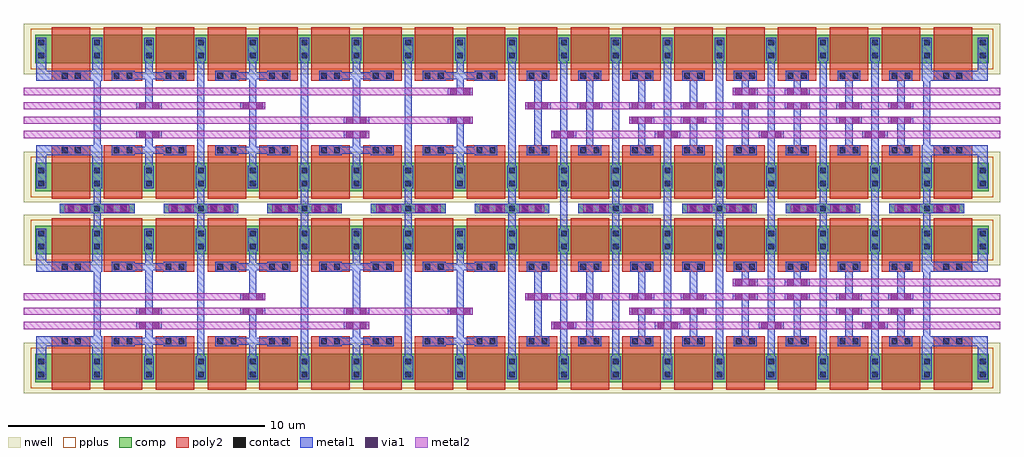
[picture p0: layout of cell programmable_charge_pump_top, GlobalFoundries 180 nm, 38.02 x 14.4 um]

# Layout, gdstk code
import gdstk
lib = gdstk.Library(unit=1e-6, precision=5e-09)
def R(c, l, rs):  # rectangles x0, y0, x1, y1
    for r in rs: c.add(gdstk.rectangle(r[:2], r[2:], *l))
def A(c, l, x, y, w, h, nx, ny, dx, dy):  # array of equal rectangles
    R(c, l, [(x+i*dx, y+j*dy, x+i*dx+w, y+j*dy+h) for i in range(nx) for j in range(ny)])
nwell = (21, 0)
comp = (22, 0)
poly2 = (30, 0)
pplus = (31, 0)
contact = (33, 0)
metal1 = (34, 0)
via1 = (35, 0)
metal2 = (36, 0)

pfet = lib.new_cell('pfet')

pfet_2 = lib.new_cell('pfet$2')
R(pfet_2, nwell, [(-0.9,-0.44,37.12,1.54)])
R(pfet_2, comp, [(-0.46,0,0,1.1), (0,0,36.22,1.1), (36.22,0,36.68,1.1)])
A(pfet_2, poly2, 0.19, -0.3, 1.5, 1.7, 18, 1, 2.02, 0)
A(pfet_2, poly2, 0.19, 1.4, 1.5, 0.38, 18, 1, 2.02, 0)
R(pfet_2, pplus, [(-0.63,-0.24,36.85,1.34)])
A(pfet_2, contact, 1.84, 0.185, 0.22, 0.22, 17, 2, 2.02, 0.51)
R(pfet_2, contact, [(-0.34,0.185,-0.12,0.405), (36.34,0.185,36.56,0.405), (-0.34,0.695,-0.12,0.915), (36.34,0.695,36.56,0.915), (0.575,1.48,0.795,1.7), (1.085,1.48,1.305,1.7), (2.595,1.48,2.815,1.7), (3.105,1.48,3.325,1.7), (4.615,1.48,4.835,1.7), (5.125,1.48,5.345,1.7), (6.635,1.48,6.855,1.7), (7.145,1.48,7.365,1.7), (8.655,1.48,8.875,1.7), (9.165,1.48,9.385,1.7), (10.675,1.48,10.895,1.7), (11.185,1.48,11.405,1.7), (12.695,1.48,12.915,1.7), (13.205,1.48,13.425,1.7), (14.715,1.48,14.935,1.7), (15.225,1.48,15.445,1.7), (16.735,1.48,16.955,1.7), (17.245,1.48,17.465,1.7), (18.755,1.48,18.975,1.7), (19.265,1.48,19.485,1.7), (20.775,1.48,20.995,1.7), (21.285,1.48,21.505,1.7), (22.795,1.48,23.015,1.7), (23.305,1.48,23.525,1.7), (24.815,1.48,25.035,1.7), (25.325,1.48,25.545,1.7), (26.835,1.48,27.055,1.7), (27.345,1.48,27.565,1.7), (28.855,1.48,29.075,1.7), (29.365,1.48,29.585,1.7), (30.875,1.48,31.095,1.7), (31.385,1.48,31.605,1.7), (32.895,1.48,33.115,1.7), (33.405,1.48,33.625,1.7), (34.915,1.48,35.135,1.7), (35.425,1.48,35.645,1.7)])
A(pfet_2, metal1, 1.76, 0.105, 0.38, 0.89, 17, 1, 2.02, 0)
A(pfet_2, metal1, 0.495, 1.4, 0.89, 0.38, 18, 1, 2.02, 0)
R(pfet_2, metal1, [(-0.42,0.105,-0.04,0.995), (36.26,0.105,36.64,0.995)])

pfet_3 = lib.new_cell('pfet$3')
R(pfet_3, nwell, [(-0.9,-0.44,37.12,1.54)])
R(pfet_3, comp, [(-0.46,0,0,1.1), (0,0,36.22,1.1), (36.22,0,36.68,1.1)])
A(pfet_3, poly2, 0.19, -0.68, 1.5, 0.38, 18, 1, 2.02, 0)
A(pfet_3, poly2, 0.19, -0.3, 1.5, 1.7, 18, 1, 2.02, 0)
R(pfet_3, pplus, [(-0.63,-0.24,36.85,1.34)])
A(pfet_3, contact, 1.84, 0.185, 0.22, 0.22, 17, 2, 2.02, 0.51)
R(pfet_3, contact, [(0.575,-0.6,0.795,-0.38), (1.085,-0.6,1.305,-0.38), (2.595,-0.6,2.815,-0.38), (3.105,-0.6,3.325,-0.38), (4.615,-0.6,4.835,-0.38), (5.125,-0.6,5.345,-0.38), (6.635,-0.6,6.855,-0.38), (7.145,-0.6,7.365,-0.38), (8.655,-0.6,8.875,-0.38), (9.165,-0.6,9.385,-0.38), (10.675,-0.6,10.895,-0.38), (11.185,-0.6,11.405,-0.38), (12.695,-0.6,12.915,-0.38), (13.205,-0.6,13.425,-0.38), (14.715,-0.6,14.935,-0.38), (15.225,-0.6,15.445,-0.38), (16.735,-0.6,16.955,-0.38), (17.245,-0.6,17.465,-0.38), (18.755,-0.6,18.975,-0.38), (19.265,-0.6,19.485,-0.38), (20.775,-0.6,20.995,-0.38), (21.285,-0.6,21.505,-0.38), (22.795,-0.6,23.015,-0.38), (23.305,-0.6,23.525,-0.38), (24.815,-0.6,25.035,-0.38), (25.325,-0.6,25.545,-0.38), (26.835,-0.6,27.055,-0.38), (27.345,-0.6,27.565,-0.38), (28.855,-0.6,29.075,-0.38), (29.365,-0.6,29.585,-0.38), (30.875,-0.6,31.095,-0.38), (31.385,-0.6,31.605,-0.38), (32.895,-0.6,33.115,-0.38), (33.405,-0.6,33.625,-0.38), (34.915,-0.6,35.135,-0.38), (35.425,-0.6,35.645,-0.38), (-0.34,0.185,-0.12,0.405), (36.34,0.185,36.56,0.405), (-0.34,0.695,-0.12,0.915), (36.34,0.695,36.56,0.915)])
A(pfet_3, metal1, 0.495, -0.68, 0.89, 0.38, 18, 1, 2.02, 0)
A(pfet_3, metal1, 1.76, 0.105, 0.38, 0.89, 17, 1, 2.02, 0)
R(pfet_3, metal1, [(-0.42,0.105,-0.04,0.995), (36.26,0.105,36.64,0.995)])

m1_m2 = lib.new_cell('M1_M2')
R(m1_m2, via1, [(0.1,0.01,0.36,0.27), (0.62,0.01,0.88,0.27)])
m1_m2.add(gdstk.FlexPath([(0,0.14),(0.98,0.14)], 0.28, ends="flush", simple_path=True, layer=34, datatype=0))  # metal1
m1_m2.add(gdstk.FlexPath([(0,0.14),(0.98,0.14)], 0.28, ends="flush", simple_path=True, layer=36, datatype=0))  # metal2

programmable_charge_pump = lib.new_cell('programmable_charge_pump_top')
A(programmable_charge_pump, contact, 2.37, 9.73, 0.22, 0.22, 5, 1, 0.51, 0)
A(programmable_charge_pump, contact, 6.41, 9.73, 0.22, 0.22, 5, 1, 0.51, 0)
A(programmable_charge_pump, contact, 10.45, 9.73, 0.22, 0.22, 5, 1, 0.51, 0)
A(programmable_charge_pump, contact, 14.49, 9.73, 0.22, 0.22, 5, 1, 0.51, 0)
A(programmable_charge_pump, contact, 18.53, 9.73, 0.22, 0.22, 5, 1, 0.51, 0)
A(programmable_charge_pump, contact, 22.57, 9.73, 0.22, 0.22, 5, 1, 0.51, 0)
A(programmable_charge_pump, contact, 26.61, 9.73, 0.22, 0.22, 5, 1, 0.51, 0)
A(programmable_charge_pump, contact, 30.65, 9.73, 0.22, 0.22, 5, 1, 0.51, 0)
A(programmable_charge_pump, contact, 34.69, 9.73, 0.22, 0.22, 5, 1, 0.51, 0)
A(programmable_charge_pump, metal1, 2.045, 9.65, 2.91, 0.38, 9, 1, 4.04, 0)
programmable_charge_pump.add(gdstk.FlexPath([(19.66,4.075),(19.66,8.165)], 0.28, ends="flush", simple_path=True, layer=34, datatype=0))  # metal1
programmable_charge_pump.add(gdstk.FlexPath([(19.66,11.515),(19.66,15.605)], 0.28, ends="flush", simple_path=True, layer=34, datatype=0))  # metal1
programmable_charge_pump.add(gdstk.FlexPath([(21.68,9.055),(21.68,10.625)], 0.28, ends="flush", simple_path=True, layer=34, datatype=0))  # metal1
programmable_charge_pump.add(gdstk.FlexPath([(25.72,9.055),(25.72,10.625)], 0.28, ends="flush", simple_path=True, layer=34, datatype=0))  # metal1
programmable_charge_pump.add(gdstk.FlexPath([(29.76,9.055),(29.76,10.625)], 0.28, ends="flush", simple_path=True, layer=34, datatype=0))  # metal1
programmable_charge_pump.add(gdstk.FlexPath([(33.8,9.055),(33.8,10.625)], 0.28, ends="flush", simple_path=True, layer=34, datatype=0))  # metal1
programmable_charge_pump.add(gdstk.FlexPath([(35.82,9.055),(35.82,10.625)], 0.28, ends="flush", simple_path=True, layer=34, datatype=0))  # metal1
programmable_charge_pump.add(gdstk.FlexPath([(31.78,9.055),(31.78,10.625)], 0.28, ends="flush", simple_path=True, layer=34, datatype=0))  # metal1
programmable_charge_pump.add(gdstk.FlexPath([(27.74,9.055),(27.74,10.625)], 0.28, ends="flush", simple_path=True, layer=34, datatype=0))  # metal1
programmable_charge_pump.add(gdstk.FlexPath([(23.7,9.055),(23.7,10.625)], 0.28, ends="flush", simple_path=True, layer=34, datatype=0))  # metal1
programmable_charge_pump.add(gdstk.FlexPath([(19.66,9.055),(19.66,10.625)], 0.28, ends="flush", simple_path=True, layer=34, datatype=0))  # metal1
programmable_charge_pump.add(gdstk.FlexPath([(15.62,9.055),(15.62,10.625)], 0.28, ends="flush", simple_path=True, layer=34, datatype=0))  # metal1
programmable_charge_pump.add(gdstk.FlexPath([(11.58,9.055),(11.58,10.625)], 0.28, ends="flush", simple_path=True, layer=34, datatype=0))  # metal1
programmable_charge_pump.add(gdstk.FlexPath([(7.54,9.055),(7.54,10.625)], 0.28, ends="flush", simple_path=True, layer=34, datatype=0))  # metal1
programmable_charge_pump.add(gdstk.FlexPath([(3.5,9.055),(3.5,10.625)], 0.28, ends="flush", simple_path=True, layer=34, datatype=0))  # metal1
programmable_charge_pump.add(gdstk.FlexPath([(32.79,14.82),(32.79,13.98)], 0.28, ends="flush", simple_path=True, layer=34, datatype=0))  # metal1
programmable_charge_pump.add(gdstk.FlexPath([(34.81,14.82),(34.81,13.98)], 0.28, ends="flush", simple_path=True, layer=34, datatype=0))  # metal1
programmable_charge_pump.add(gdstk.FlexPath([(25.72,11.515),(25.72,15.605)], 0.28, ends="flush", simple_path=True, layer=34, datatype=0))  # metal1
programmable_charge_pump.add(gdstk.FlexPath([(29.76,11.515),(29.76,15.605)], 0.28, ends="flush", simple_path=True, layer=34, datatype=0))  # metal1
programmable_charge_pump.add(gdstk.FlexPath([(33.8,11.515),(33.8,15.605)], 0.28, ends="flush", simple_path=True, layer=34, datatype=0))  # metal1
programmable_charge_pump.add(gdstk.FlexPath([(26.73,12.3),(26.73,13.14)], 0.28, ends="flush", simple_path=True, layer=34, datatype=0))  # metal1
programmable_charge_pump.add(gdstk.FlexPath([(24.71,12.3),(24.71,13.14)], 0.28, ends="flush", simple_path=True, layer=34, datatype=0))  # metal1
programmable_charge_pump.add(gdstk.FlexPath([(32.79,12.3),(32.79,13.14)], 0.28, ends="flush", simple_path=True, layer=34, datatype=0))  # metal1
programmable_charge_pump.add(gdstk.FlexPath([(34.81,12.3),(34.81,13.14)], 0.28, ends="flush", simple_path=True, layer=34, datatype=0))  # metal1
programmable_charge_pump.add(gdstk.FlexPath([(30.77,14.82),(30.77,14.54)], 0.28, ends="flush", simple_path=True, layer=34, datatype=0))  # metal1
programmable_charge_pump.add(gdstk.FlexPath([(28.75,14.82),(28.75,14.54)], 0.28, ends="flush", simple_path=True, layer=34, datatype=0))  # metal1
programmable_charge_pump.add(gdstk.FlexPath([(35.82,11.515),(35.82,12.11),(36.385,12.11)], 0.38, ends="flush", simple_path=True, layer=34, datatype=0))  # metal1
programmable_charge_pump.add(gdstk.FlexPath([(37.275,12.11),(38,12.11),(38,11.515)], 0.38, ends="flush", simple_path=True, layer=34, datatype=0))  # metal1
programmable_charge_pump.add(gdstk.FlexPath([(35.82,15.605),(35.82,15.01),(36.385,15.01)], 0.38, ends="flush", simple_path=True, layer=34, datatype=0))  # metal1
programmable_charge_pump.add(gdstk.FlexPath([(37.275,15.01),(38,15.01),(38,15.605)], 0.38, ends="flush", simple_path=True, layer=34, datatype=0))  # metal1
programmable_charge_pump.add(gdstk.FlexPath([(35.82,12.11),(35.82,15.01)], 0.28, ends="flush", simple_path=True, layer=34, datatype=0))  # metal1
programmable_charge_pump.add(gdstk.FlexPath([(31.78,11.515),(31.78,15.605)], 0.28, ends="flush", simple_path=True, layer=34, datatype=0))  # metal1
programmable_charge_pump.add(gdstk.FlexPath([(27.74,11.515),(27.74,15.605)], 0.28, ends="flush", simple_path=True, layer=34, datatype=0))  # metal1
programmable_charge_pump.add(gdstk.FlexPath([(23.7,11.515),(23.7,15.605)], 0.28, ends="flush", simple_path=True, layer=34, datatype=0))  # metal1
programmable_charge_pump.add(gdstk.FlexPath([(20.67,14.82),(20.67,12.3)], 0.28, ends="flush", simple_path=True, layer=34, datatype=0))  # metal1
programmable_charge_pump.add(gdstk.FlexPath([(22.69,12.3),(22.69,14.82)], 0.28, ends="flush", simple_path=True, layer=34, datatype=0))  # metal1
programmable_charge_pump.add(gdstk.FlexPath([(21.68,11.515),(21.68,15.605)], 0.28, ends="flush", simple_path=True, layer=34, datatype=0))  # metal1
programmable_charge_pump.add(gdstk.FlexPath([(24.71,14.82),(24.71,13.98)], 0.28, ends="flush", simple_path=True, layer=34, datatype=0))  # metal1
programmable_charge_pump.add(gdstk.FlexPath([(26.73,14.82),(26.73,13.98)], 0.28, ends="flush", simple_path=True, layer=34, datatype=0))  # metal1
programmable_charge_pump.add(gdstk.FlexPath([(28.75,12.3),(28.75,13.7)], 0.28, ends="flush", simple_path=True, layer=34, datatype=0))  # metal1
programmable_charge_pump.add(gdstk.FlexPath([(30.77,12.3),(30.77,13.7)], 0.28, ends="flush", simple_path=True, layer=34, datatype=0))  # metal1
programmable_charge_pump.add(gdstk.FlexPath([(13.6,15.605),(13.6,14.87)], 0.28, ends="flush", simple_path=True, layer=34, datatype=0))  # metal1
programmable_charge_pump.add(gdstk.FlexPath([(8.995,15.01),(10.125,15.01)], 0.28, ends="flush", simple_path=True, layer=34, datatype=0))  # metal1
programmable_charge_pump.add(gdstk.FlexPath([(8.995,12.11),(10.125,12.11)], 0.28, ends="flush", simple_path=True, layer=34, datatype=0))  # metal1
programmable_charge_pump.add(gdstk.FlexPath([(9.56,11.515),(9.56,12.25)], 0.28, ends="flush", simple_path=True, layer=34, datatype=0))  # metal1
programmable_charge_pump.add(gdstk.FlexPath([(9.56,15.605),(9.56,14.87)], 0.28, ends="flush", simple_path=True, layer=34, datatype=0))  # metal1
programmable_charge_pump.add(gdstk.FlexPath([(4.955,15.01),(6.085,15.01)], 0.28, ends="flush", simple_path=True, layer=34, datatype=0))  # metal1
programmable_charge_pump.add(gdstk.FlexPath([(4.955,12.11),(6.085,12.11)], 0.28, ends="flush", simple_path=True, layer=34, datatype=0))  # metal1
programmable_charge_pump.add(gdstk.FlexPath([(5.52,11.515),(5.52,12.25)], 0.28, ends="flush", simple_path=True, layer=34, datatype=0))  # metal1
programmable_charge_pump.add(gdstk.FlexPath([(5.52,15.605),(5.52,14.87)], 0.28, ends="flush", simple_path=True, layer=34, datatype=0))  # metal1
programmable_charge_pump.add(gdstk.FlexPath([(13.6,14.87),(13.6,13.42)], 0.28, ends="flush", simple_path=True, layer=34, datatype=0))  # metal1
programmable_charge_pump.add(gdstk.FlexPath([(5.52,12.25),(5.52,12.58)], 0.28, ends="flush", simple_path=True, layer=34, datatype=0))  # metal1
programmable_charge_pump.add(gdstk.FlexPath([(5.52,14.87),(5.52,13.98)], 0.28, ends="flush", simple_path=True, layer=34, datatype=0))  # metal1
programmable_charge_pump.add(gdstk.FlexPath([(9.56,14.87),(9.56,13.98)], 0.28, ends="flush", simple_path=True, layer=34, datatype=0))  # metal1
programmable_charge_pump.add(gdstk.FlexPath([(9.56,12.25),(9.56,13.7)], 0.28, ends="flush", simple_path=True, layer=34, datatype=0))  # metal1
programmable_charge_pump.add(gdstk.FlexPath([(17.64,15.605),(17.64,14.54)], 0.28, ends="flush", simple_path=True, layer=34, datatype=0))  # metal1
programmable_charge_pump.add(gdstk.FlexPath([(1.32,15.605),(1.32,15.01),(2.045,15.01)], 0.38, ends="flush", simple_path=True, layer=34, datatype=0))  # metal1
programmable_charge_pump.add(gdstk.FlexPath([(2.935,15.01),(3.5,15.01),(3.5,15.605)], 0.38, ends="flush", simple_path=True, layer=34, datatype=0))  # metal1
programmable_charge_pump.add(gdstk.FlexPath([(3.5,12.11),(3.5,15.01)], 0.28, ends="flush", simple_path=True, layer=34, datatype=0))  # metal1
programmable_charge_pump.add(gdstk.FlexPath([(11.58,11.515),(11.58,15.605)], 0.28, ends="flush", simple_path=True, layer=34, datatype=0))  # metal1
programmable_charge_pump.add(gdstk.FlexPath([(15.62,11.515),(15.62,15.605)], 0.28, ends="flush", simple_path=True, layer=34, datatype=0))  # metal1
programmable_charge_pump.add(gdstk.FlexPath([(7.54,11.515),(7.54,15.605)], 0.28, ends="flush", simple_path=True, layer=34, datatype=0))  # metal1
programmable_charge_pump.add(gdstk.FlexPath([(1.32,11.515),(1.32,12.11),(2.045,12.11)], 0.38, ends="flush", simple_path=True, layer=34, datatype=0))  # metal1
programmable_charge_pump.add(gdstk.FlexPath([(2.935,12.11),(3.5,12.11),(3.5,11.515)], 0.38, ends="flush", simple_path=True, layer=34, datatype=0))  # metal1
programmable_charge_pump.add(gdstk.FlexPath([(17.075,15.01),(18.205,15.01)], 0.28, ends="flush", simple_path=True, layer=34, datatype=0))  # metal1
programmable_charge_pump.add(gdstk.FlexPath([(17.075,12.11),(18.205,12.11)], 0.28, ends="flush", simple_path=True, layer=34, datatype=0))  # metal1
programmable_charge_pump.add(gdstk.FlexPath([(17.64,11.515),(17.64,13.14)], 0.28, ends="flush", simple_path=True, layer=34, datatype=0))  # metal1
programmable_charge_pump.add(gdstk.FlexPath([(13.6,12.25),(13.6,12.58)], 0.28, ends="flush", simple_path=True, layer=34, datatype=0))  # metal1
programmable_charge_pump.add(gdstk.FlexPath([(13.035,15.01),(14.165,15.01)], 0.28, ends="flush", simple_path=True, layer=34, datatype=0))  # metal1
programmable_charge_pump.add(gdstk.FlexPath([(13.035,12.11),(14.165,12.11)], 0.28, ends="flush", simple_path=True, layer=34, datatype=0))  # metal1
programmable_charge_pump.add(gdstk.FlexPath([(13.6,11.515),(13.6,12.25)], 0.28, ends="flush", simple_path=True, layer=34, datatype=0))  # metal1
programmable_charge_pump.add(gdstk.FlexPath([(13.035,4.67),(14.165,4.67)], 0.28, ends="flush", simple_path=True, layer=34, datatype=0))  # metal1
programmable_charge_pump.add(gdstk.FlexPath([(13.6,4.075),(13.6,4.81)], 0.28, ends="flush", simple_path=True, layer=34, datatype=0))  # metal1
programmable_charge_pump.add(gdstk.FlexPath([(13.6,8.165),(13.6,7.43)], 0.28, ends="flush", simple_path=True, layer=34, datatype=0))  # metal1
programmable_charge_pump.add(gdstk.FlexPath([(8.995,7.57),(10.125,7.57)], 0.28, ends="flush", simple_path=True, layer=34, datatype=0))  # metal1
programmable_charge_pump.add(gdstk.FlexPath([(8.995,4.67),(10.125,4.67)], 0.28, ends="flush", simple_path=True, layer=34, datatype=0))  # metal1
programmable_charge_pump.add(gdstk.FlexPath([(9.56,4.075),(9.56,4.81)], 0.28, ends="flush", simple_path=True, layer=34, datatype=0))  # metal1
programmable_charge_pump.add(gdstk.FlexPath([(9.56,8.165),(9.56,7.43)], 0.28, ends="flush", simple_path=True, layer=34, datatype=0))  # metal1
programmable_charge_pump.add(gdstk.FlexPath([(4.955,7.57),(6.085,7.57)], 0.28, ends="flush", simple_path=True, layer=34, datatype=0))  # metal1
programmable_charge_pump.add(gdstk.FlexPath([(4.955,4.67),(6.085,4.67)], 0.28, ends="flush", simple_path=True, layer=34, datatype=0))  # metal1
programmable_charge_pump.add(gdstk.FlexPath([(5.52,4.075),(5.52,4.81)], 0.28, ends="flush", simple_path=True, layer=34, datatype=0))  # metal1
programmable_charge_pump.add(gdstk.FlexPath([(5.52,8.165),(5.52,7.43)], 0.28, ends="flush", simple_path=True, layer=34, datatype=0))  # metal1
programmable_charge_pump.add(gdstk.FlexPath([(13.6,7.43),(13.6,5.98)], 0.28, ends="flush", simple_path=True, layer=34, datatype=0))  # metal1
programmable_charge_pump.add(gdstk.FlexPath([(5.52,4.81),(5.52,5.14)], 0.28, ends="flush", simple_path=True, layer=34, datatype=0))  # metal1
programmable_charge_pump.add(gdstk.FlexPath([(5.52,7.43),(5.52,5.98)], 0.28, ends="flush", simple_path=True, layer=34, datatype=0))  # metal1
programmable_charge_pump.add(gdstk.FlexPath([(9.56,7.43),(9.56,6.54)], 0.28, ends="flush", simple_path=True, layer=34, datatype=0))  # metal1
programmable_charge_pump.add(gdstk.FlexPath([(9.56,4.81),(9.56,5.7)], 0.28, ends="flush", simple_path=True, layer=34, datatype=0))  # metal1
programmable_charge_pump.add(gdstk.FlexPath([(1.32,4.075),(1.32,4.67),(2.045,4.67)], 0.38, ends="flush", simple_path=True, layer=34, datatype=0))  # metal1
programmable_charge_pump.add(gdstk.FlexPath([(2.935,4.67),(3.5,4.67),(3.5,4.075)], 0.38, ends="flush", simple_path=True, layer=34, datatype=0))  # metal1
programmable_charge_pump.add(gdstk.FlexPath([(1.32,8.165),(1.32,7.57),(2.045,7.57)], 0.38, ends="flush", simple_path=True, layer=34, datatype=0))  # metal1
programmable_charge_pump.add(gdstk.FlexPath([(2.935,7.57),(3.5,7.57),(3.5,8.165)], 0.38, ends="flush", simple_path=True, layer=34, datatype=0))  # metal1
programmable_charge_pump.add(gdstk.FlexPath([(3.5,4.67),(3.5,7.57)], 0.28, ends="flush", simple_path=True, layer=34, datatype=0))  # metal1
programmable_charge_pump.add(gdstk.FlexPath([(11.58,4.075),(11.58,8.165)], 0.28, ends="flush", simple_path=True, layer=34, datatype=0))  # metal1
programmable_charge_pump.add(gdstk.FlexPath([(15.62,4.075),(15.62,8.165)], 0.28, ends="flush", simple_path=True, layer=34, datatype=0))  # metal1
programmable_charge_pump.add(gdstk.FlexPath([(7.54,4.075),(7.54,8.165)], 0.28, ends="flush", simple_path=True, layer=34, datatype=0))  # metal1
programmable_charge_pump.add(gdstk.FlexPath([(17.075,7.57),(18.205,7.57)], 0.28, ends="flush", simple_path=True, layer=34, datatype=0))  # metal1
programmable_charge_pump.add(gdstk.FlexPath([(17.075,4.67),(18.205,4.67)], 0.28, ends="flush", simple_path=True, layer=34, datatype=0))  # metal1
programmable_charge_pump.add(gdstk.FlexPath([(17.64,4.075),(17.64,8.165)], 0.28, ends="flush", simple_path=True, layer=34, datatype=0))  # metal1
programmable_charge_pump.add(gdstk.FlexPath([(13.6,4.81),(13.6,5.14)], 0.28, ends="flush", simple_path=True, layer=34, datatype=0))  # metal1
programmable_charge_pump.add(gdstk.FlexPath([(13.035,7.57),(14.165,7.57)], 0.28, ends="flush", simple_path=True, layer=34, datatype=0))  # metal1
programmable_charge_pump.add(gdstk.FlexPath([(30.77,4.86),(30.77,6.26)], 0.28, ends="flush", simple_path=True, layer=34, datatype=0))  # metal1
programmable_charge_pump.add(gdstk.FlexPath([(32.79,7.38),(32.79,6.54)], 0.28, ends="flush", simple_path=True, layer=34, datatype=0))  # metal1
programmable_charge_pump.add(gdstk.FlexPath([(34.81,7.38),(34.81,6.54)], 0.28, ends="flush", simple_path=True, layer=34, datatype=0))  # metal1
programmable_charge_pump.add(gdstk.FlexPath([(25.72,4.075),(25.72,8.165)], 0.28, ends="flush", simple_path=True, layer=34, datatype=0))  # metal1
programmable_charge_pump.add(gdstk.FlexPath([(29.76,4.075),(29.76,8.165)], 0.28, ends="flush", simple_path=True, layer=34, datatype=0))  # metal1
programmable_charge_pump.add(gdstk.FlexPath([(33.8,4.075),(33.8,8.165)], 0.28, ends="flush", simple_path=True, layer=34, datatype=0))  # metal1
programmable_charge_pump.add(gdstk.FlexPath([(26.73,4.86),(26.73,5.7)], 0.28, ends="flush", simple_path=True, layer=34, datatype=0))  # metal1
programmable_charge_pump.add(gdstk.FlexPath([(24.71,4.86),(24.71,5.7)], 0.28, ends="flush", simple_path=True, layer=34, datatype=0))  # metal1
programmable_charge_pump.add(gdstk.FlexPath([(32.79,4.86),(32.79,5.7)], 0.28, ends="flush", simple_path=True, layer=34, datatype=0))  # metal1
programmable_charge_pump.add(gdstk.FlexPath([(34.81,4.86),(34.81,5.7)], 0.28, ends="flush", simple_path=True, layer=34, datatype=0))  # metal1
programmable_charge_pump.add(gdstk.FlexPath([(30.77,7.38),(30.77,7.1)], 0.28, ends="flush", simple_path=True, layer=34, datatype=0))  # metal1
programmable_charge_pump.add(gdstk.FlexPath([(28.75,7.38),(28.75,7.1)], 0.28, ends="flush", simple_path=True, layer=34, datatype=0))  # metal1
programmable_charge_pump.add(gdstk.FlexPath([(35.82,4.67),(35.82,7.57)], 0.28, ends="flush", simple_path=True, layer=34, datatype=0))  # metal1
programmable_charge_pump.add(gdstk.FlexPath([(31.78,4.075),(31.78,8.165)], 0.28, ends="flush", simple_path=True, layer=34, datatype=0))  # metal1
programmable_charge_pump.add(gdstk.FlexPath([(27.74,4.075),(27.74,8.165)], 0.28, ends="flush", simple_path=True, layer=34, datatype=0))  # metal1
programmable_charge_pump.add(gdstk.FlexPath([(23.7,4.075),(23.7,8.165)], 0.28, ends="flush", simple_path=True, layer=34, datatype=0))  # metal1
programmable_charge_pump.add(gdstk.FlexPath([(35.82,4.075),(35.82,4.67),(36.385,4.67)], 0.38, ends="flush", simple_path=True, layer=34, datatype=0))  # metal1
programmable_charge_pump.add(gdstk.FlexPath([(37.275,4.67),(38,4.67),(38,4.075)], 0.38, ends="flush", simple_path=True, layer=34, datatype=0))  # metal1
programmable_charge_pump.add(gdstk.FlexPath([(35.82,8.165),(35.82,7.57),(36.385,7.57)], 0.38, ends="flush", simple_path=True, layer=34, datatype=0))  # metal1
programmable_charge_pump.add(gdstk.FlexPath([(37.275,7.57),(38,7.57),(38,8.165)], 0.38, ends="flush", simple_path=True, layer=34, datatype=0))  # metal1
programmable_charge_pump.add(gdstk.FlexPath([(20.67,7.38),(20.67,4.86)], 0.28, ends="flush", simple_path=True, layer=34, datatype=0))  # metal1
programmable_charge_pump.add(gdstk.FlexPath([(22.69,4.86),(22.69,7.38)], 0.28, ends="flush", simple_path=True, layer=34, datatype=0))  # metal1
programmable_charge_pump.add(gdstk.FlexPath([(21.68,4.075),(21.68,8.165)], 0.28, ends="flush", simple_path=True, layer=34, datatype=0))  # metal1
programmable_charge_pump.add(gdstk.FlexPath([(24.71,7.38),(24.71,6.54)], 0.28, ends="flush", simple_path=True, layer=34, datatype=0))  # metal1
programmable_charge_pump.add(gdstk.FlexPath([(26.73,7.38),(26.73,6.54)], 0.28, ends="flush", simple_path=True, layer=34, datatype=0))  # metal1
programmable_charge_pump.add(gdstk.FlexPath([(28.75,4.86),(28.75,6.26)], 0.28, ends="flush", simple_path=True, layer=34, datatype=0))  # metal1
programmable_charge_pump.add(gdstk.FlexPath([(20.18,6.4),(38.67,6.4)], 0.28, ends="flush", simple_path=True, layer=36, datatype=0))  # metal2
programmable_charge_pump.add(gdstk.FlexPath([(21.19,5.28),(38.67,5.28)], 0.28, ends="flush", simple_path=True, layer=36, datatype=0))  # metal2
programmable_charge_pump.add(gdstk.FlexPath([(24.22,5.84),(38.67,5.84)], 0.28, ends="flush", simple_path=True, layer=36, datatype=0))  # metal2
programmable_charge_pump.add(gdstk.FlexPath([(28.26,6.96),(38.67,6.96)], 0.28, ends="flush", simple_path=True, layer=36, datatype=0))  # metal2
programmable_charge_pump.add(gdstk.FlexPath([(20.18,13.84),(38.67,13.84)], 0.28, ends="flush", simple_path=True, layer=36, datatype=0))  # metal2
programmable_charge_pump.add(gdstk.FlexPath([(21.19,12.72),(38.67,12.72)], 0.28, ends="flush", simple_path=True, layer=36, datatype=0))  # metal2
programmable_charge_pump.add(gdstk.FlexPath([(24.22,13.28),(38.67,13.28)], 0.28, ends="flush", simple_path=True, layer=36, datatype=0))  # metal2
programmable_charge_pump.add(gdstk.FlexPath([(28.26,14.4),(38.67,14.4)], 0.28, ends="flush", simple_path=True, layer=36, datatype=0))  # metal2
programmable_charge_pump.add(gdstk.FlexPath([(18.13,13.28),(0.65,13.28)], 0.28, ends="flush", simple_path=True, layer=36, datatype=0))  # metal2
programmable_charge_pump.add(gdstk.FlexPath([(14.09,12.72),(0.65,12.72)], 0.28, ends="flush", simple_path=True, layer=36, datatype=0))  # metal2
programmable_charge_pump.add(gdstk.FlexPath([(10.05,13.84),(0.65,13.84)], 0.28, ends="flush", simple_path=True, layer=36, datatype=0))  # metal2
programmable_charge_pump.add(gdstk.FlexPath([(18.13,14.4),(0.65,14.4)], 0.28, ends="flush", simple_path=True, layer=36, datatype=0))  # metal2
programmable_charge_pump.add(gdstk.FlexPath([(18.13,5.84),(0.65,5.84)], 0.28, ends="flush", simple_path=True, layer=36, datatype=0))  # metal2
programmable_charge_pump.add(gdstk.FlexPath([(14.09,5.28),(0.65,5.28)], 0.28, ends="flush", simple_path=True, layer=36, datatype=0))  # metal2
programmable_charge_pump.add(gdstk.FlexPath([(10.05,6.4),(0.65,6.4)], 0.28, ends="flush", simple_path=True, layer=36, datatype=0))  # metal2
programmable_charge_pump.add(gdstk.FlexPath([(6.085,9.84),(8.995,9.84)], 0.38, ends="flush", simple_path=True, layer=22, datatype=0))  # comp
programmable_charge_pump.add(gdstk.FlexPath([(2.045,9.84),(4.955,9.84)], 0.38, ends="flush", simple_path=True, layer=22, datatype=0))  # comp
programmable_charge_pump.add(gdstk.FlexPath([(14.165,9.84),(17.075,9.84)], 0.38, ends="flush", simple_path=True, layer=22, datatype=0))  # comp
programmable_charge_pump.add(gdstk.FlexPath([(10.125,9.84),(13.035,9.84)], 0.38, ends="flush", simple_path=True, layer=22, datatype=0))  # comp
programmable_charge_pump.add(gdstk.FlexPath([(22.245,9.84),(25.155,9.84)], 0.38, ends="flush", simple_path=True, layer=22, datatype=0))  # comp
programmable_charge_pump.add(gdstk.FlexPath([(18.205,9.84),(21.115,9.84)], 0.38, ends="flush", simple_path=True, layer=22, datatype=0))  # comp
programmable_charge_pump.add(gdstk.FlexPath([(30.325,9.84),(33.235,9.84)], 0.38, ends="flush", simple_path=True, layer=22, datatype=0))  # comp
programmable_charge_pump.add(gdstk.FlexPath([(26.285,9.84),(29.195,9.84)], 0.38, ends="flush", simple_path=True, layer=22, datatype=0))  # comp
programmable_charge_pump.add(gdstk.FlexPath([(34.365,9.84),(37.275,9.84)], 0.38, ends="flush", simple_path=True, layer=22, datatype=0))  # comp
programmable_charge_pump.add(gdstk.Reference(pfet, (2.51,2.11)))
programmable_charge_pump.add(gdstk.Reference(pfet_2, (1.55,3.08)))
programmable_charge_pump.add(gdstk.Reference(pfet_3, (1.55,8.06)))
programmable_charge_pump.add(gdstk.Reference(m1_m2, (20.18,6.26)))
programmable_charge_pump.add(gdstk.Reference(m1_m2, (28.26,6.82)))
programmable_charge_pump.add(gdstk.Reference(m1_m2, (22.2,6.26)))
programmable_charge_pump.add(gdstk.Reference(m1_m2, (21.19,5.14)))
programmable_charge_pump.add(gdstk.Reference(m1_m2, (24.22,6.26)))
programmable_charge_pump.add(gdstk.Reference(m1_m2, (26.24,6.26)))
programmable_charge_pump.add(gdstk.Reference(m1_m2, (28.26,6.26)))
programmable_charge_pump.add(gdstk.Reference(m1_m2, (30.28,6.26)))
programmable_charge_pump.add(gdstk.Reference(m1_m2, (32.3,6.26)))
programmable_charge_pump.add(gdstk.Reference(m1_m2, (34.32,6.26)))
programmable_charge_pump.add(gdstk.Reference(m1_m2, (25.23,5.14)))
programmable_charge_pump.add(gdstk.Reference(m1_m2, (29.27,5.14)))
programmable_charge_pump.add(gdstk.Reference(m1_m2, (33.31,5.14)))
programmable_charge_pump.add(gdstk.Reference(m1_m2, (24.22,5.7)))
programmable_charge_pump.add(gdstk.Reference(m1_m2, (26.24,5.7)))
programmable_charge_pump.add(gdstk.Reference(m1_m2, (30.28,6.82)))
programmable_charge_pump.add(gdstk.Reference(m1_m2, (32.3,5.7)))
programmable_charge_pump.add(gdstk.Reference(m1_m2, (34.32,5.7)))
programmable_charge_pump.add(gdstk.Reference(pfet, (2.51,9.55)))
programmable_charge_pump.add(gdstk.Reference(pfet_2, (1.55,10.52)))
programmable_charge_pump.add(gdstk.Reference(pfet_3, (1.55,15.5)))
programmable_charge_pump.add(gdstk.Reference(m1_m2, (13.11,12.58)))
programmable_charge_pump.add(gdstk.Reference(m1_m2, (13.11,13.14)))
programmable_charge_pump.add(gdstk.Reference(m1_m2, (20.18,13.7)))
programmable_charge_pump.add(gdstk.Reference(m1_m2, (28.26,14.26)))
programmable_charge_pump.add(gdstk.Reference(m1_m2, (22.2,13.7)))
programmable_charge_pump.add(gdstk.Reference(m1_m2, (21.19,12.58)))
programmable_charge_pump.add(gdstk.Reference(m1_m2, (24.22,13.7)))
programmable_charge_pump.add(gdstk.Reference(m1_m2, (26.24,13.7)))
programmable_charge_pump.add(gdstk.Reference(m1_m2, (28.26,13.7)))
programmable_charge_pump.add(gdstk.Reference(m1_m2, (30.28,13.7)))
programmable_charge_pump.add(gdstk.Reference(m1_m2, (32.3,13.7)))
programmable_charge_pump.add(gdstk.Reference(m1_m2, (34.32,13.7)))
programmable_charge_pump.add(gdstk.Reference(m1_m2, (25.23,12.58)))
programmable_charge_pump.add(gdstk.Reference(m1_m2, (29.27,12.58)))
programmable_charge_pump.add(gdstk.Reference(m1_m2, (33.31,12.58)))
programmable_charge_pump.add(gdstk.Reference(m1_m2, (24.22,13.14)))
programmable_charge_pump.add(gdstk.Reference(m1_m2, (26.24,13.14)))
programmable_charge_pump.add(gdstk.Reference(m1_m2, (30.28,14.26)))
programmable_charge_pump.add(gdstk.Reference(m1_m2, (32.3,13.14)))
programmable_charge_pump.add(gdstk.Reference(m1_m2, (34.32,13.14)))
programmable_charge_pump.add(gdstk.Reference(m1_m2, (17.15,13.14)))
programmable_charge_pump.add(gdstk.Reference(m1_m2, (5.03,12.58)))
programmable_charge_pump.add(gdstk.Reference(m1_m2, (5.03,13.7)))
programmable_charge_pump.add(gdstk.Reference(m1_m2, (17.15,14.26)))
programmable_charge_pump.add(gdstk.Reference(m1_m2, (9.07,13.7)))
programmable_charge_pump.add(gdstk.Reference(m1_m2, (9.07,6.26)))
programmable_charge_pump.add(gdstk.Reference(m1_m2, (9.07,5.7)))
programmable_charge_pump.add(gdstk.Reference(m1_m2, (5.03,5.7)))
programmable_charge_pump.add(gdstk.Reference(m1_m2, (5.03,5.14)))
programmable_charge_pump.add(gdstk.Reference(m1_m2, (17.15,5.7)))
programmable_charge_pump.add(gdstk.Reference(m1_m2, (13.11,5.7)))
programmable_charge_pump.add(gdstk.Reference(m1_m2, (13.11,5.14)))
programmable_charge_pump.add(gdstk.Reference(m1_m2, (3.775,9.7)))
programmable_charge_pump.add(gdstk.Reference(m1_m2, (11.855,9.7)))
programmable_charge_pump.add(gdstk.Reference(m1_m2, (10.325,9.7)))
programmable_charge_pump.add(gdstk.Reference(m1_m2, (15.895,9.7)))
programmable_charge_pump.add(gdstk.Reference(m1_m2, (14.365,9.7)))
programmable_charge_pump.add(gdstk.Reference(m1_m2, (19.935,9.7)))
programmable_charge_pump.add(gdstk.Reference(m1_m2, (28.015,9.7)))
programmable_charge_pump.add(gdstk.Reference(m1_m2, (26.485,9.7)))
programmable_charge_pump.add(gdstk.Reference(m1_m2, (32.055,9.7)))
programmable_charge_pump.add(gdstk.Reference(m1_m2, (30.525,9.7)))
programmable_charge_pump.add(gdstk.Reference(m1_m2, (18.405,9.7)))
programmable_charge_pump.add(gdstk.Reference(m1_m2, (23.975,9.7)))
programmable_charge_pump.add(gdstk.Reference(m1_m2, (22.445,9.7)))
programmable_charge_pump.add(gdstk.Reference(m1_m2, (36.095,9.7)))
programmable_charge_pump.add(gdstk.Reference(m1_m2, (34.565,9.7)))
programmable_charge_pump.add(gdstk.Reference(m1_m2, (2.245,9.7)))
programmable_charge_pump.add(gdstk.Reference(m1_m2, (7.815,9.7)))
programmable_charge_pump.add(gdstk.Reference(m1_m2, (6.285,9.7)))

lib.write_gds('programmable_charge_pump_top.gds')
